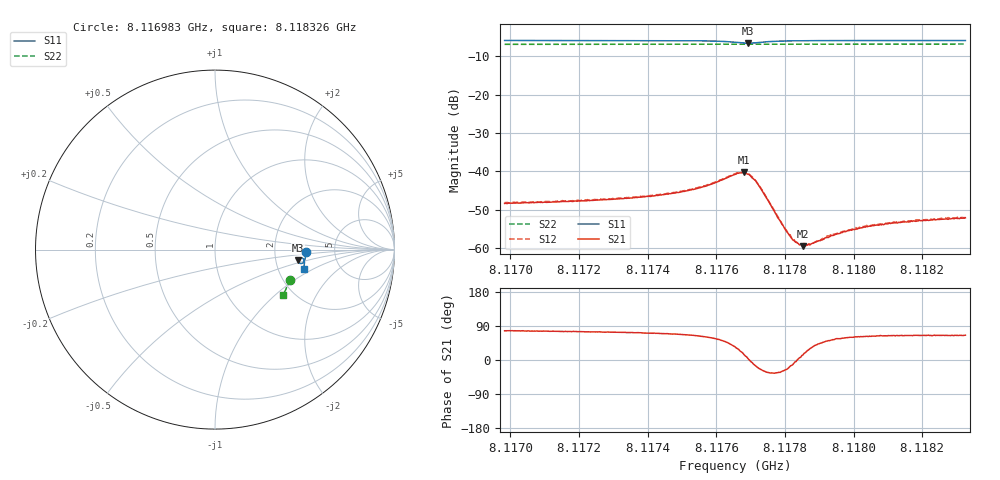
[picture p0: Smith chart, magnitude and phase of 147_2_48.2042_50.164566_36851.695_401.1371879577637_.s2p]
#  HZ  S  RI  R  50.00
! Rohde & Schwarz Vector Network Analyzer
! Rohde-Schwarz,ZNB20-2Port,1311601062101988,3.16
! Created: UTC 3/20/2024, 11:42:39 AM
! freq[Hz]  re:S11  im:S11  re:S21  im:S21  re:S12  im:S12  re:S22  im:S22
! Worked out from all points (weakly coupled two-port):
!   401 points, 8.116983 GHz to 8.118326 GHz, reference 50 ohm
!   highest |S21| = -40.30 dB at 8.117681 GHz (marker M1); lowest = -59.5 dB at 8.117852 GHz (marker M2)
!   lowest |S11| = -6.6 dB at 8.117691 GHz (marker M3), VSWR 2.75, Z = 134 - j20.6 ohm
!   |S11| at or under -10 dB: nowhere
!   |S22| runs from -6.9 to -6.8 dB; largest |S21 - S12| = 0.00032
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8.1169831e9  0.5059 -0.0158  0.00085 0.00372  0.00092 0.00379  0.4181 -0.1683
8.117208e9  0.5045 -0.0337  0.00109 0.004  0.00116 0.00404  0.4125 -0.1831
8.1174329e9  0.5015 -0.0536  0.00167 0.0046  0.00174 0.00467  0.4063 -0.1977
8.1174967e9  0.4995 -0.0604  0.00207 0.00495  0.00215 0.00505  0.4045 -0.2018
8.1175604e9  0.4954 -0.0682  0.00294 0.00554  0.00303 0.00559  0.4025 -0.2059
8.1176544e9  0.4736 -0.0768  0.00748 0.00521  0.0077 0.00522  0.3989 -0.2117
8.1176813e9  0.4632 -0.0667  0.00939 0.00227  0.00944 0.00226  0.3976 -0.2128
8.1176913e9  0.4623 -0.0603  0.00914 0.000766  0.00932 0.000693  0.3974 -0.213
8.1177048e9  0.4654 -0.052  0.00811 -0.001  0.00838 -0.00115  0.3971 -0.2135
8.1177216e9  0.4732 -0.0461  0.00633 -0.00237  0.00641 -0.00246  0.3973 -0.2143
8.1177417e9  0.4827 -0.0457  0.00419 -0.00243  0.00424 -0.00256  0.397 -0.2157
8.1177853e9  0.4934 -0.0531  0.00192 -0.00124  0.00193 -0.00125  0.3961 -0.2186
8.1178155e9  0.4964 -0.0585  0.00136 -0.000386  0.00142 -0.000447  0.3953 -0.2208
8.117829e9  0.4971 -0.0606  0.00121 -0.000112  0.00123 -0.000145  0.3949 -0.2217
8.1178525e9  0.498 -0.0641  0.00103 0.000248  0.00107 0.000261  0.3941 -0.2233
8.1178659e9  0.4983 -0.066  0.000995 0.000468  0.001 0.000434  0.3938 -0.2241
8.1178793e9  0.4984 -0.0676  0.000956 0.000642  0.000957 0.000655  0.3932 -0.2248
8.1179263e9  0.4985 -0.073  0.00086 0.00107  0.000904 0.00112  0.3919 -0.228
8.1180002e9  0.4981 -0.0806  0.000874 0.00152  0.000874 0.00155  0.3893 -0.2327
8.1181042e9  0.4968 -0.0898  0.000931 0.00191  0.000948 0.00189  0.3859 -0.239
8.1181881e9  0.4957 -0.0968  0.000957 0.00204  0.00101 0.00209  0.383 -0.2443
8.1183257e9  0.4934 -0.1076  0.00103 0.00225  0.00105 0.00228  0.3779 -0.2524
